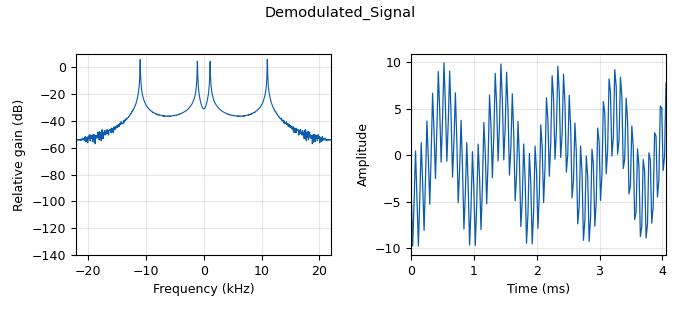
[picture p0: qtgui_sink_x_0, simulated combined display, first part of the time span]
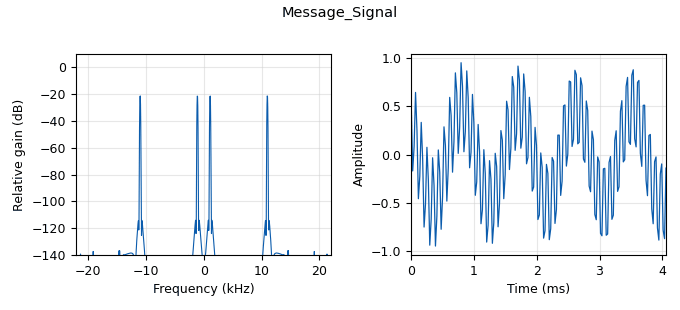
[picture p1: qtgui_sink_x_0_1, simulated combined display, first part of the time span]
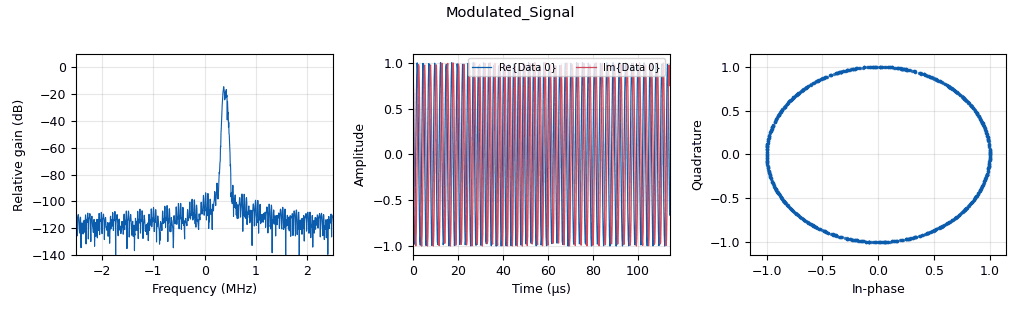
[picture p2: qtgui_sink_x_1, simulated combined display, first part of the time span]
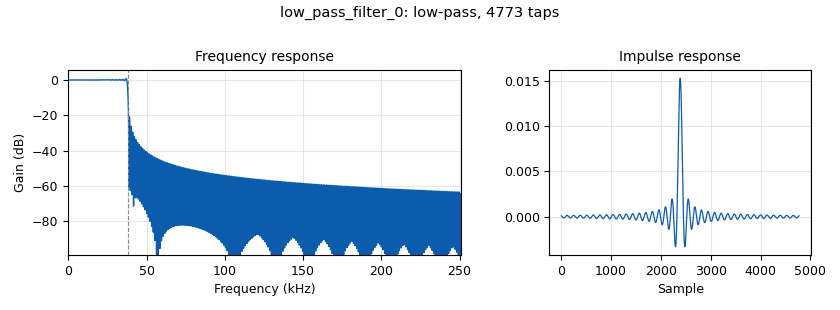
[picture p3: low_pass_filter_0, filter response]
options:
  parameters:
    author: anupam
    generate_options: qt_gui
    id: Q2
    output_language: python
    title: Not titled yet
  states: {}

blocks:
- name: audio_rate
  id: variable
  parameters:
    value: '44100'
  states: {}
- name: sample_rate
  id: variable
  parameters:
    value: '5000000'
  states: {}
- name: analog_noise_source_x_0
  id: analog_noise_source_x
  parameters:
    amp: '0.2'
    noise_type: analog.GR_GAUSSIAN
    seed: '0'
    type: complex
  states: {}
- name: analog_phase_modulator_fc_0
  id: analog_phase_modulator_fc
  parameters:
    sensitivity: 75000 * 2 * 3.141
  states: {}
- name: analog_sig_source_x_0
  id: analog_sig_source_x
  parameters:
    amp: '0.5'
    freq: '1100'
    offset: '0'
    phase: '0'
    samp_rate: audio_rate
    type: float
    waveform: analog.GR_COS_WAVE
  states: {}
- name: analog_sig_source_x_0_0
  id: analog_sig_source_x
  parameters:
    amp: '0.5'
    freq: '11000'
    offset: '0'
    phase: '0'
    samp_rate: audio_rate
    type: float
    waveform: analog.GR_COS_WAVE
  states: {}
- name: analog_sig_source_x_1
  id: analog_sig_source_x
  parameters:
    amp: '1'
    freq: '400000'
    offset: '0'
    phase: '0'
    samp_rate: sample_rate
    type: complex
    waveform: analog.GR_COS_WAVE
  states: {}
- name: blocks_add_xx_0
  id: blocks_add_xx
  parameters:
    type: float
  states: {}
- name: blocks_add_xx_0_0
  id: blocks_add_xx
  parameters:
    type: complex
  states: {}
- name: blocks_complex_to_arg_0
  id: blocks_complex_to_arg
  parameters: {}
  states: {}
- name: blocks_conjugate_cc_0
  id: blocks_conjugate_cc
  parameters: {}
  states: {}
- name: blocks_delay_0
  id: blocks_delay
  parameters:
    delay: '1'
    type: complex
  states: {}
- name: blocks_multiply_const_vxx_0
  id: blocks_multiply_const_vxx
  parameters:
    const: '100'
    type: float
  states: {}
- name: blocks_multiply_const_vxx_0_0
  id: blocks_multiply_const_vxx
  parameters:
    const: 1/6.28
    type: float
  states: {state: bypassed}
- name: blocks_multiply_xx_0
  id: blocks_multiply_xx
  parameters:
    type: complex
  states: {}
- name: blocks_multiply_xx_1
  id: blocks_multiply_xx
  parameters:
    type: complex
  states: {}
- name: dc_blocker_xx_0
  id: dc_blocker_xx
  parameters:
    length: '20000'
    long_form: 'True'
    type: ff
  states: {}
- name: iir_filter_xxx_0
  id: iir_filter_xxx
  parameters:
    fbtaps: '[1,1]'
    fftaps: '[0,1/audio_rate]'
    type: ffd
  states: {}
- name: low_pass_filter_0
  id: low_pass_filter
  parameters:
    cutoff_freq: '38000'
    decim: '1'
    gain: '1'
    samp_rate: sample_rate
    type: fir_filter_fff
    width: '1000'
    win: window.WIN_RECTANGULAR
  states: {}
- name: qtgui_sink_x_0
  id: qtgui_sink_x
  parameters:
    alias: Demodulated_Signal
    bw: audio_rate
    fc: '0'
    fftsize: '1024'
    name: Demodulated_Signal
    type: float
    wintype: window.WIN_RECTANGULAR
  states: {}
- name: qtgui_sink_x_0_1
  id: qtgui_sink_x
  parameters:
    alias: Message_Signal
    bw: audio_rate
    fc: '0'
    fftsize: '1024'
    name: Message_Signal
    type: float
  states: {}
- name: qtgui_sink_x_1
  id: qtgui_sink_x
  parameters:
    alias: Modulated_Signal
    bw: sample_rate
    fc: '0'
    fftsize: '1024'
    name: Modulated_Signal
    type: complex
  states: {}
- name: rational_resampler_xxx_0
  id: rational_resampler_xxx
  parameters:
    decim: audio_rate
    interp: sample_rate
    type: fff
  states: {}
- name: rational_resampler_xxx_0_0
  id: rational_resampler_xxx
  parameters:
    decim: sample_rate
    interp: audio_rate
    taps: ''
    type: fff
  states: {}

connections:
- [analog_noise_source_x_0, '0', blocks_add_xx_0_0, '1']
- [analog_phase_modulator_fc_0, '0', blocks_multiply_xx_0, '0']
- [analog_sig_source_x_0, '0', blocks_add_xx_0, '0']
- [analog_sig_source_x_0_0, '0', blocks_add_xx_0, '1']
- [analog_sig_source_x_1, '0', blocks_multiply_xx_0, '1']
- [blocks_add_xx_0, '0', iir_filter_xxx_0, '0']
- [blocks_add_xx_0, '0', qtgui_sink_x_0_1, '0']
- [blocks_add_xx_0_0, '0', blocks_delay_0, '0']
- [blocks_add_xx_0_0, '0', blocks_multiply_xx_1, '0']
- [blocks_complex_to_arg_0, '0', blocks_multiply_const_vxx_0_0, '0']
- [blocks_conjugate_cc_0, '0', blocks_multiply_xx_1, '1']
- [blocks_delay_0, '0', blocks_conjugate_cc_0, '0']
- [blocks_multiply_const_vxx_0, '0', qtgui_sink_x_0, '0']
- [blocks_multiply_const_vxx_0_0, '0', low_pass_filter_0, '0']
- [blocks_multiply_xx_0, '0', blocks_add_xx_0_0, '0']
- [blocks_multiply_xx_0, '0', qtgui_sink_x_1, '0']
- [blocks_multiply_xx_1, '0', blocks_complex_to_arg_0, '0']
- [dc_blocker_xx_0, '0', rational_resampler_xxx_0_0, '0']
- [iir_filter_xxx_0, '0', rational_resampler_xxx_0, '0']
- [low_pass_filter_0, '0', dc_blocker_xx_0, '0']
- [rational_resampler_xxx_0, '0', analog_phase_modulator_fc_0, '0']
- [rational_resampler_xxx_0_0, '0', blocks_multiply_const_vxx_0, '0']

metadata:
  file_format: 1
  grc_version: 3.10.7.0
